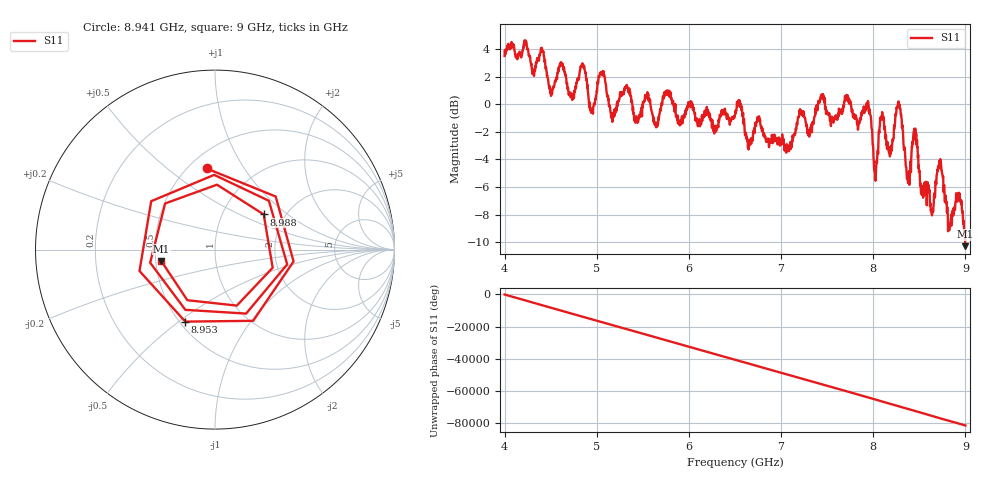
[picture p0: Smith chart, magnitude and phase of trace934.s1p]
! Created with skrf 1.8.0 (http://scikit-rf.org).
# Hz S RI R 50.0
!freq ReS11 ImS11
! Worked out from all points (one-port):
!   1601 points, 4 GHz to 9 GHz, reference 50 ohm
!   lowest |S11| = -10.3 dB at 9 GHz (marker M1), VSWR 1.88, Z = 26.8 - j3.78 ohm
!   |S11| at or under -10 dB: 8.997978 GHz to end of sweep
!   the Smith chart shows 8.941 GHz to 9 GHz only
!   S11 on the Smith chart (normalised r, x): 8.941 GHz: 0.61, +0.70; 8.953 GHz: 0.53, -0.53; 8.988 GHz: 1.56, +0.69; 9 GHz: 0.54, -0.08
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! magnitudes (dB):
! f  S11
! 4 GHz  3.5
! 4.406 GHz  4.0
! 4.509 GHz  0.7
! 4.625 GHz  2.8
! 4.728 GHz  0.8
! 4.853 GHz  2.8
! 4.941 GHz  -0.6
! 5.047 GHz  2.3
! 5.172 GHz  -0.6
! 5.25 GHz  0.6
! 5.875 GHz  -1.0
! 6.5 GHz  -0.8
! 7.125 GHz  -2.3
! 7.75 GHz  0.1
! 7.95 GHz  -0.1
! 8.028 GHz  -5.2
! 8.088 GHz  -0.9
! 8.181 GHz  -3.8
! 8.278 GHz  0.0
! 8.375 GHz  -5.3
! 8.45 GHz  -2.5
! 8.631 GHz  -7.9
! 8.719 GHz  -4.1
! 8.828 GHz  -8.6
! 8.941 GHz  -6.8
! 8.953 GHz  -7.2
! 8.988 GHz  -9.5
! 9 GHz  -10.3
